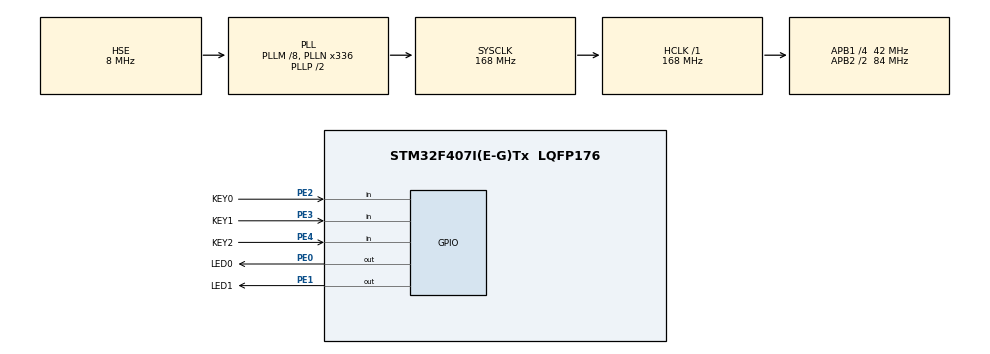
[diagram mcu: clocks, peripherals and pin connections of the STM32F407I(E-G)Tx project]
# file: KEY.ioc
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Mcu.Family=STM32F4
Mcu.Name=STM32F407I(E-G)Tx
Mcu.Package=LQFP176
NVIC.PriorityGroup=NVIC_PRIORITYGROUP_4
PE0.GPIO_Label=LED0
PE0.GPIO_Speed=GPIO_SPEED_FREQ_HIGH
PE0.PinState=GPIO_PIN_SET
PE0.Signal=GPIO_Output
PE1.GPIO_Label=LED1
PE1.GPIO_Speed=GPIO_SPEED_FREQ_HIGH
PE1.PinState=GPIO_PIN_SET
PE1.Signal=GPIO_Output
PE2.GPIO_Label=KEY0
PE2.GPIO_PuPd=GPIO_PULLUP
PE2.Signal=GPIO_Input
PE3.GPIO_Label=KEY1
PE3.GPIO_PuPd=GPIO_PULLUP
PE3.Signal=GPIO_Input
PE4.GPIO_Label=KEY2
PE4.GPIO_PuPd=GPIO_PULLUP
PE4.Signal=GPIO_Input
PH0-OSC_IN.Mode=HSE-External-Oscillator
PH0-OSC_IN.Signal=RCC_OSC_IN
PH1-OSC_OUT.Mode=HSE-External-Oscillator
PH1-OSC_OUT.Signal=RCC_OSC_OUT
ProjectManager.HeapSize=0x200
ProjectManager.StackSize=0x400
ProjectManager.TargetToolchain=MDK-ARM V5
RCC.48MHZClocksFreq_Value=84000000
RCC.AHBFreq_Value=168000000
RCC.APB1CLKDivider=RCC_HCLK_DIV4
RCC.APB1Freq_Value=42000000
RCC.APB1TimFreq_Value=84000000
RCC.APB2CLKDivider=RCC_HCLK_DIV2
RCC.APB2Freq_Value=84000000
RCC.APB2TimFreq_Value=168000000
RCC.CortexFreq_Value=168000000
RCC.HCLKFreq_Value=168000000
RCC.HSE_VALUE=8000000
RCC.HSI_VALUE=16000000
RCC.LSE_VALUE=32768
RCC.PLLM=8
RCC.PLLN=336
RCC.PLLSourceVirtual=RCC_PLLSOURCE_HSE
RCC.SYSCLKFreq_VALUE=168000000
RCC.SYSCLKSource=RCC_SYSCLKSOURCE_PLLCLK
RCC.VCOOutputFreq_Value=336000000
board=KEY

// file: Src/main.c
/**
  ******************************************************************************
  * @file           : main.c
  * @brief          : Main program body
  ******************************************************************************
  ** This notice applies to any and all portions of this file
  * that are not between comment pairs USER CODE BEGIN and
  * USER CODE END. Other portions of this file, whether
  * inserted by the user or by software development tools
  * are owned by their respective copyright owners.
  *
  * COPYRIGHT(c) 2024 STMicroelectronics
  *
  * Redistribution and use in source and binary forms, with or without modification,
  * are permitted provided that the following conditions are met:
  *   1. Redistributions of source code must retain the above copyright notice,
  *      this list of conditions and the following disclaimer.
  *   2. Redistributions in binary form must reproduce the above copyright notice,
  *      this list of conditions and the following disclaimer in the documentation
  *      and/or other materials provided with the distribution.
  *   3. Neither the name of STMicroelectronics nor the names of its contributors
  *      may be used to endorse or promote products derived from this software
  *      without specific prior written permission.
  *
  * THIS SOFTWARE IS PROVIDED BY THE COPYRIGHT HOLDERS AND CONTRIBUTORS "AS IS"
  * AND ANY EXPRESS OR IMPLIED WARRANTIES, INCLUDING, BUT NOT LIMITED TO, THE
  * IMPLIED WARRANTIES OF MERCHANTABILITY AND FITNESS FOR A PARTICULAR PURPOSE ARE
  * DISCLAIMED. IN NO EVENT SHALL THE COPYRIGHT HOLDER OR CONTRIBUTORS BE LIABLE
  * FOR ANY DIRECT, INDIRECT, INCIDENTAL, SPECIAL, EXEMPLARY, OR CONSEQUENTIAL
  * DAMAGES (INCLUDING, BUT NOT LIMITED TO, PROCUREMENT OF SUBSTITUTE GOODS OR
  * SERVICES; LOSS OF USE, DATA, OR PROFITS; OR BUSINESS INTERRUPTION) HOWEVER
  * CAUSED AND ON ANY THEORY OF LIABILITY, WHETHER IN CONTRACT, STRICT LIABILITY,
  * OR TORT (INCLUDING NEGLIGENCE OR OTHERWISE) ARISING IN ANY WAY OUT OF THE USE
  * OF THIS SOFTWARE, EVEN IF ADVISED OF THE POSSIBILITY OF SUCH DAMAGE.
  *
  ******************************************************************************
  */
#include "main.h"
#include "stm32f4xx_hal.h"
#include "gpio.h"
#include "led.h"
#include "key.h"

/* USER CODE BEGIN PV */
/* Private variables ---------------------------------------------------------*/

/* USER CODE END PV */

void SystemClock_Config(void);

/* USER CODE BEGIN PFP */
/* Private function prototypes -----------------------------------------------*/

/* USER CODE END PFP */

int main(void)
{

  /* MCU Configuration----------------------------------------------------------*/

  /* Reset of all peripherals, Initializes the Flash interface and the Systick. */
  HAL_Init();

  /* Configure the system clock */
  SystemClock_Config();

  /* Initialize all configured peripherals */
  MX_GPIO_Init();

  /* Infinite loop */
  /* USER CODE BEGIN WHILE */
  while (1)
  {
		uint8_t res = Check_KEY_PRESS();
		switch(res){
			case 1:
				/*key0*/
				LEDx_TogglePin(GPIOE, LED0_PIN);
				break;
			case 2:
				/*key1*/
				LEDx_TogglePin(GPIOE, LED1_PIN);
				break;
			case 3:
				/*key0+key1*/
				LEDx_TogglePin(GPIOE, LED0_PIN);
				LEDx_TogglePin(GPIOE, LED1_PIN);
				break;
			case 4:
				/*key2*/
				LEDx_TogglePin(GPIOE, LED0_PIN);
				LEDx_TogglePin(GPIOE, LED1_PIN);
				break;
			case 5:
				/*key0 + key2*/
				LEDx_TogglePin(GPIOE, LED1_PIN);
				break;
			case 6:
				/*key1 + key2*/
				LEDx_TogglePin(GPIOE, LED0_PIN);
				break;
			case 7:
				/*key0 + key1 + key2*/
				break;
		}
  /* USER CODE END WHILE */

  }

}

void SystemClock_Config(void)
{

  RCC_OscInitTypeDef RCC_OscInitStruct;
  RCC_ClkInitTypeDef RCC_ClkInitStruct;

    /**Configure the main internal regulator output voltage
    */
  __HAL_RCC_PWR_CLK_ENABLE();

  __HAL_PWR_VOLTAGESCALING_CONFIG(PWR_REGULATOR_VOLTAGE_SCALE1);

    /**Initializes the CPU, AHB and APB busses clocks
    */
  RCC_OscInitStruct.OscillatorType = RCC_OSCILLATORTYPE_HSE;
  RCC_OscInitStruct.HSEState = RCC_HSE_ON;
  RCC_OscInitStruct.PLL.PLLState = RCC_PLL_ON;
  RCC_OscInitStruct.PLL.PLLSource = RCC_PLLSOURCE_HSE;
  RCC_OscInitStruct.PLL.PLLM = 8;
  RCC_OscInitStruct.PLL.PLLN = 336;
  RCC_OscInitStruct.PLL.PLLP = RCC_PLLP_DIV2;
  RCC_OscInitStruct.PLL.PLLQ = 4;
  if (HAL_RCC_OscConfig(&RCC_OscInitStruct) != HAL_OK)
  {
    _Error_Handler(__FILE__, __LINE__);
  }

    /**Initializes the CPU, AHB and APB busses clocks
    */
  RCC_ClkInitStruct.ClockType = RCC_CLOCKTYPE_HCLK|RCC_CLOCKTYPE_SYSCLK
                              |RCC_CLOCKTYPE_PCLK1|RCC_CLOCKTYPE_PCLK2;
  RCC_ClkInitStruct.SYSCLKSource = RCC_SYSCLKSOURCE_PLLCLK;
  RCC_ClkInitStruct.AHBCLKDivider = RCC_SYSCLK_DIV1;
  RCC_ClkInitStruct.APB1CLKDivider = RCC_HCLK_DIV4;
  RCC_ClkInitStruct.APB2CLKDivider = RCC_HCLK_DIV2;

  if (HAL_RCC_ClockConfig(&RCC_ClkInitStruct, FLASH_LATENCY_5) != HAL_OK)
  {
    _Error_Handler(__FILE__, __LINE__);
  }

    /**Configure the Systick interrupt time
    */
  HAL_SYSTICK_Config(HAL_RCC_GetHCLKFreq()/1000);

    /**Configure the Systick
    */
  HAL_SYSTICK_CLKSourceConfig(SYSTICK_CLKSOURCE_HCLK);

  /* SysTick_IRQn interrupt configuration */
  HAL_NVIC_SetPriority(SysTick_IRQn, 0, 0);
}

void _Error_Handler(char *file, int line)
{
  while(1)
  {
  }
}

/************************ (C) COPYRIGHT STMicroelectronics *****END OF FILE****/
